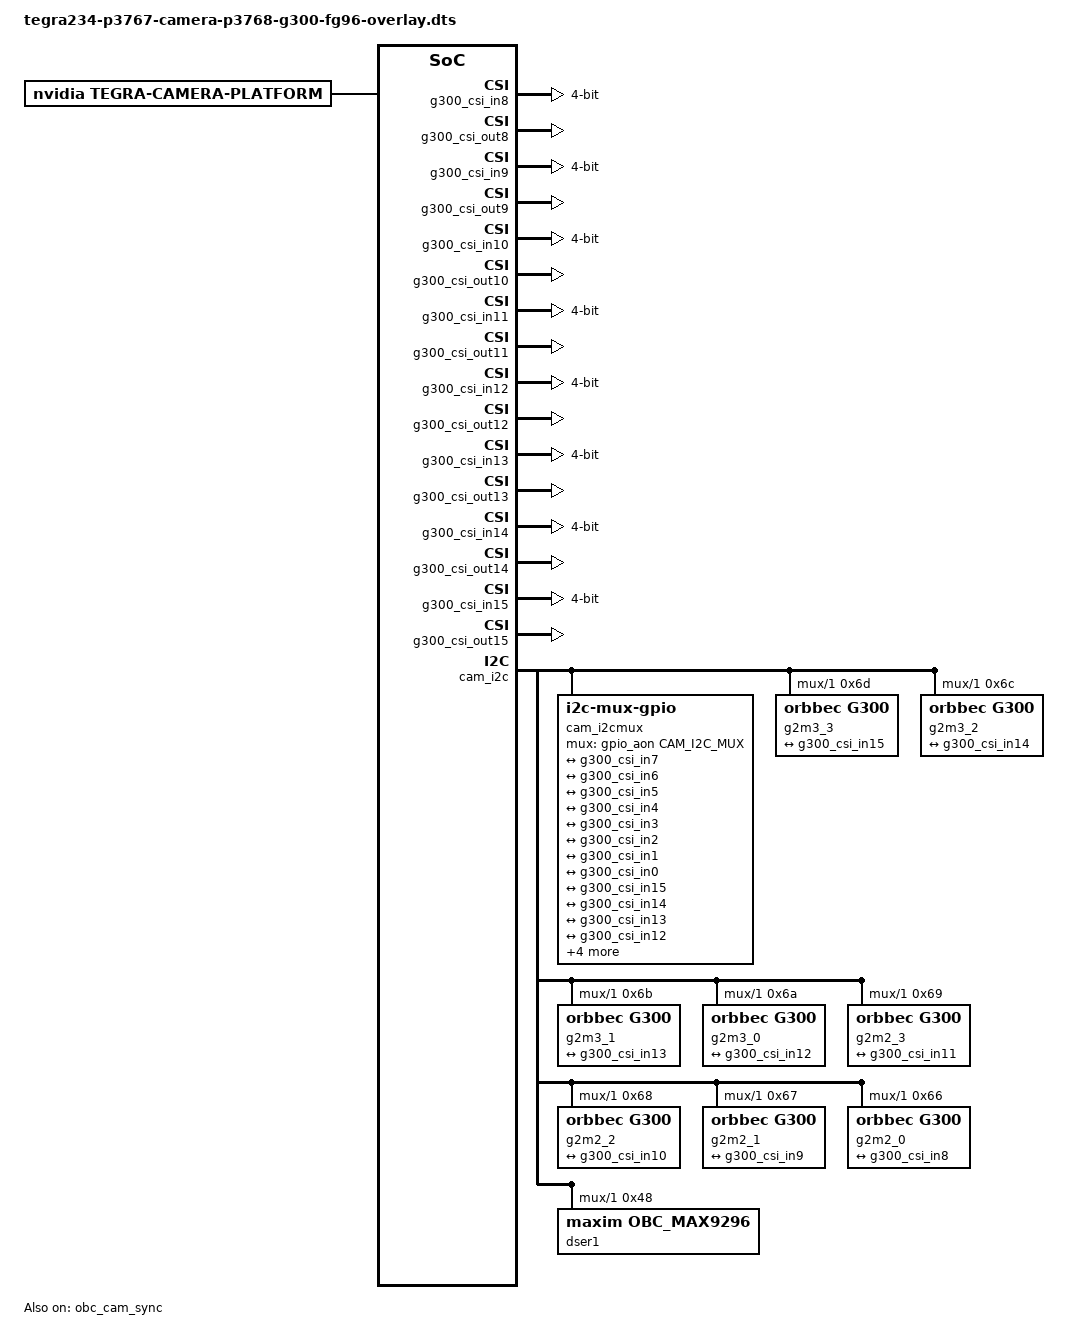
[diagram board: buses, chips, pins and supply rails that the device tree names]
// SPDX-License-Identifier: GPL-2.0-only
// SPDX-FileCopyrightText: Copyright (c) 2024-2029, ORBBEC CORPORATION.  All rights reserved.

/dts-v1/;
/plugin/;

#include <dt-bindings/clock/tegra234-clock.h>
#include <dt-bindings/gpio/tegra234-gpio.h>
#include <dt-bindings/tegra234-p3767-0000-common.h>
#include <dt-bindings/pinctrl/pinctrl-tegra.h> 

#define CAM0_PWDN TEGRA234_MAIN_GPIO(H, 6) //0x3e
#define CAM1_PWDN TEGRA234_MAIN_GPIO(AC, 0) //0x3b

#define SYNC_OUT   CAM1_PWDN
#define SYNC_IN    TEGRA234_AON_GPIO(BB, 0) //(BB, 0)
//#define PPS_TRIGGER  TEGRA234_AON_GPIO(BB, 2)//(BB, 2)

#define CAMERA_I2C_MUX_BUS(x) (0x1E + x)
#define CAM_I2C_MUX  TEGRA234_AON_GPIO(CC, 3)

/* camera control gpio definitions */
/ {
	overlay-name = "Jetson Orbbec Camera G335Lg";
    jetson-header-name = "Jetson 40pin Header";
    compatible = JETSON_COMPATIBLE_P3768;

	fragment@0 {
		target = <&pinmux>;
		__overlay__ {
			pinctrl-names = "default";
			pinctrl-0 = <&jetson_io_pinmux>;
			jetson_io_pinmux: exp-header-pinmux {
				hdr40-pin15 {
					nvidia,pins = "soc_gpio39_pn1";
					nvidia,function = "gp";
					nvidia,pin-group = "pwm1";
					nvidia,tristate = <TEGRA_PIN_DISABLE>;
					nvidia,enable-input = <TEGRA_PIN_DISABLE>;
				};
			};
		};
	};

	fragment@1 {
		target-path = "/";
		__overlay__ {
			tegra-capture-vi {
				num-channels = <16>;
				ports {
					status = "okay";
					#address-cells = <1>;
					#size-cells = <0>;
					port@0 {
						reg = <0>;
						status = "disable";
						g300_vi_in0: endpoint {
							status = "okay";
							vc-id = <0>;
							port-index = <0>; //0
							bus-width = <4>;
							remote-endpoint = <&g300_csi_out0>;
						};
					};
					port@1 {
						reg = <1>;
						status = "disable";
						g300_vi_in1: endpoint {
							status = "okay";
							vc-id = <1>;
							port-index = <0>; //0
							bus-width = <4>;
							remote-endpoint = <&g300_csi_out1>;
						};
					};
					port@2 {
						reg = <2>;
						status = "disable";
						g300_vi_in2: endpoint {
							status = "okay";
							vc-id = <2>;
							port-index = <0>; //0
							bus-width = <4>;
							remote-endpoint = <&g300_csi_out2>;
						};
					};
					port@3 {
						reg = <3>;
						status = "disable";
						g300_vi_in3: endpoint {
							status = "okay";
							vc-id = <3>;
							port-index = <0>; //0
							bus-width = <4>;
							remote-endpoint = <&g300_csi_out3>;
						};
					};

					port@4 {
						reg = <4>;
						status = "disable";
						g300_vi_in4: endpoint {
							status = "okay";
							vc-id = <3>;
							port-index = <0>; //1
							bus-width = <4>;
							remote-endpoint = <&g300_csi_out4>;
						};
					};
					port@5 {
						reg = <5>;
						status = "disable";
						g300_vi_in5: endpoint {
							status = "okay";
							vc-id = <2>;
							port-index = <0>; //1
							bus-width = <4>;
							remote-endpoint = <&g300_csi_out5>;
						};
					};
					port@6 {
						reg = <6>;
						status = "disable";
						g300_vi_in6: endpoint {
							status = "okay";
							vc-id = <1>;
							port-index = <0>; //1
							bus-width = <4>;
							remote-endpoint = <&g300_csi_out6>;
						};
					};
					port@7 {
						reg = <7>;
						status = "disable";
						g300_vi_in7: endpoint {
							status = "okay";
							vc-id = <0>;
							port-index = <0>; //1
							bus-width = <4>;
							remote-endpoint = <&g300_csi_out7>;
						};
					};

					port@8 {
						reg = <8>;
						status = "okay";
						g300_vi_in8: endpoint {
							status = "okay";
							vc-id = <0>;
							port-index = <2>; //2
							bus-width = <4>;
							remote-endpoint = <&g300_csi_out8>;
						};
					};
					port@9 {
						reg = <9>;
						status = "okay";
						g300_vi_in9: endpoint {
							status = "okay";
							vc-id = <1>;
							port-index = <2>; //2
							bus-width = <4>;
							remote-endpoint = <&g300_csi_out9>;
						};
					};
					port@10 {
						reg = <10>;
						status = "okay";
						g300_vi_in10: endpoint {
							status = "okay";
							vc-id = <2>;
							port-index = <2>; //2
							bus-width = <4>;
							remote-endpoint = <&g300_csi_out10>;
						};
					};
					port@11 {
						reg = <11>;
						status = "okay";
						g300_vi_in11: endpoint {
							status = "okay";
							vc-id = <3>;
							port-index = <2>; //2
							bus-width = <4>;
							remote-endpoint = <&g300_csi_out11>;
						};
					};

					port@12 {
						reg = <12>;
						status = "okay";
						g300_vi_in12: endpoint {
							status = "okay";
							vc-id = <3>;
							port-index = <2>; //3
							bus-width = <4>;
							remote-endpoint = <&g300_csi_out12>;
						};
					};
					port@13 {
						reg = <13>;
						status = "okay";
						g300_vi_in13: endpoint {
							status = "okay";
							vc-id = <2>;
							port-index = <2>; //3
							bus-width = <4>;
							remote-endpoint = <&g300_csi_out13>;
						};
					};
					port@14 {
						reg = <14>;
						status = "okay";
						g300_vi_in14: endpoint {
							status = "okay";
							vc-id = <1>;
							port-index = <2>; //3
							bus-width = <4>;
							remote-endpoint = <&g300_csi_out14>;
						};
					};
					port@15 {
						reg = <15>;
						status = "okay";
						g300_vi_in15: endpoint {
							status = "okay";
							vc-id = <0>;
							port-index = <2>; //3
							bus-width = <4>;
							remote-endpoint = <&g300_csi_out15>;
						};
					};
				};
			};
			
			obc_cam_sync {
				compatible = "orbbec,obc_cam_sync";
				ranges = <0x0 0x0 0xc6a0000 0x10000>;
				reg = <0x0 0xc6a0000 0x0 0x18>;
				#address-cells = <1>;
				#size-cells = <1>;
				status = "okay";
				//sync-in-gpios = <&gpio_aon SYNC_IN GPIO_ACTIVE_HIGH>;
				//sync-out-gpios = <&gpio_aon CAM_SYNCALL GPIO_ACTIVE_HIGH>;  //Use hrtimer to generate trigger signals
				pwms = <&pwm8 0 33333333>; //Use PWM to generate trigger signals, Default PWM mode, if use hrtimer comment out this line
				/* EDGE_OUT #0 */
				generator@380 {
					reg = <0x380 0x80>;
					freq_hz = <30>;
					duty_cycle = <10>;
					offset_ms = <0>;
					gpio_pinmux = <&gpio_aon TEGRA234_AON_GPIO(BB, 2) GPIO_ACTIVE_LOW>;
					status = "disabled";
				};		
			};


			bus@0 {
				host1x@13e00000 {
					nvcsi@15a00000 {
						#address-cells = <1>;
						#size-cells = <0>;

						num-channels = <16>;

						channel@0 {
							reg = <0>;
							status = "disable";
							ports {
								status = "okay";
								#address-cells = <1>;
								#size-cells = <0>;
								port@0 {
									reg = <0>;
									status = "okay";
									g300_csi_in0: endpoint@0 {
										status = "okay";
										port-index = <0>;
										bus-width = <4>;
										remote-endpoint = <&g2m0_0_out>;
									};
								};
								port@1 {
									reg = <1>;
									status = "okay";
									g300_csi_out0: endpoint@1 {
										status = "okay";
										remote-endpoint = <&g300_vi_in0>;
									};
								};
							};
						};
						channel@1 {
							reg = <1>;
							status = "disable";
							ports {
								status = "okay";
								#address-cells = <1>;
								#size-cells = <0>;
								port@0 {
									reg = <0>;
									status = "okay";
									g300_csi_in1: endpoint@2 {
										status = "okay";
										port-index = <0>;
										bus-width = <4>;
										remote-endpoint = <&g2m0_1_out>;
									};
								};
								port@1 {
									reg = <1>;
									status = "okay";
									g300_csi_out1: endpoint@3 {
										status = "okay";
										remote-endpoint = <&g300_vi_in1>;
									};
								};
							};
						};
						channel@2 {
							reg = <2>;
							status = "disable";
							ports {
								status = "okay";
								#address-cells = <1>;
								#size-cells = <0>;
								port@0 {
									reg = <0>;
									status = "okay";
									g300_csi_in2: endpoint@4 {
										status = "okay";
										port-index = <0>;
										bus-width = <4>;
										remote-endpoint = <&g2m0_2_out>;
									};
								};
								port@1 {
									reg = <1>;
									status = "okay";
									g300_csi_out2: endpoint@5 {
										status = "okay";
										remote-endpoint = <&g300_vi_in2>;
									};
								};
							};
						};
						channel@3 {
							reg = <3>;
							status = "disable";
							ports {
								status = "okay";
								#address-cells = <1>;
								#size-cells = <0>;
								port@0 {
									reg = <0>;
									status = "okay";
									g300_csi_in3: endpoint@6 {
										status = "okay";
										port-index = <0>;
										bus-width = <4>;
										remote-endpoint = <&g2m0_3_out>;
									};
								};
								port@1 {
									reg = <1>;
									status = "okay";
									g300_csi_out3: endpoint@7 {
										status = "okay";
										remote-endpoint = <&g300_vi_in3>;
									};
								};
							};
						};
						channel@4 {
							reg = <4>;
							status = "disable";
							ports {
								status = "okay";
								#address-cells = <1>;
								#size-cells = <0>;
								port@0 {
									reg = <0>;
									status = "okay";
									g300_csi_in4: endpoint@8 {
										status = "okay";
										port-index = <0>;
										bus-width = <4>;
										remote-endpoint = <&g2m1_0_out>;
									};
								};
								port@1 {
									reg = <1>;
									status = "okay";
									g300_csi_out4: endpoint@9 {
										status = "okay";
										remote-endpoint = <&g300_vi_in4>;
									};
								};
							};
						};
						channel@5 {
							reg = <5>;
							status = "disable";
							ports {
								status = "okay";
								#address-cells = <1>;
								#size-cells = <0>;
								port@0 {
									reg = <0>;
									status = "okay";
									g300_csi_in5: endpoint@10 {
										status = "okay";
										port-index = <0>;
										bus-width = <4>;
										remote-endpoint = <&g2m1_1_out>;
									};
								};
								port@1 {
									reg = <1>;
									status = "okay";
									g300_csi_out5: endpoint@11 {
										status = "okay";
										remote-endpoint = <&g300_vi_in5>;
									};
								};
							};
						};
						channel@6 {
							reg = <6>;
							status = "disable";
							ports {
								status = "okay";
								#address-cells = <1>;
								#size-cells = <0>;
								port@0 {
									reg = <0>;
									status = "okay";
									g300_csi_in6: endpoint@12 {
										status = "okay";
										port-index = <0>;
										bus-width = <4>;
										remote-endpoint = <&g2m1_2_out>;
									};
								};
								port@1 {
									reg = <1>;
									status = "okay";
									g300_csi_out6: endpoint@13 {
										status = "okay";
										remote-endpoint = <&g300_vi_in6>;
									};
								};
							};
						};
						channel@7 {
							reg = <7>;
							status = "disable";
							ports {
								status = "okay";
								#address-cells = <1>;
								#size-cells = <0>;
								port@0 {
									reg = <0>;
									status = "okay";
									g300_csi_in7: endpoint@14 {
										status = "okay";
										port-index = <0>;
										bus-width = <4>;
										remote-endpoint = <&g2m1_3_out>;
									};
								};
								port@1 {
									reg = <1>;
									status = "okay";
									g300_csi_out7: endpoint@15 {
										status = "okay";
										remote-endpoint = <&g300_vi_in7>;
									};
								};
							};
						};
						channel@8 {
							reg = <8>;
							status = "okay";
							ports {
								status = "okay";
								#address-cells = <1>;
								#size-cells = <0>;
								port@0 {
									reg = <0>;
									status = "okay";
									g300_csi_in8: endpoint@16 {
										status = "okay";
										port-index = <2>;
										bus-width = <4>;
										remote-endpoint = <&g2m2_0_out>;
									};
								};
								port@1 {
									reg = <1>;
									status = "okay";
									g300_csi_out8: endpoint@17 {
										status = "okay";
										remote-endpoint = <&g300_vi_in8>;
									};
								};
							};
						};
						channel@9 {
							reg = <9>;
							status = "okay";
							ports {
								status = "okay";
								#address-cells = <1>;
								#size-cells = <0>;
								port@0 {
									reg = <0>;
									status = "okay";
									g300_csi_in9: endpoint@18 {
										status = "okay";
										port-index = <2>;
										bus-width = <4>;
										remote-endpoint = <&g2m2_1_out>;
									};
								};
								port@1 {
									reg = <1>;
									status = "okay";
									g300_csi_out9: endpoint@19 {
										status = "okay";
										remote-endpoint = <&g300_vi_in9>;
									};
								};
							};
						};
						channel@10 {
							reg = <10>;
							status = "okay";
							ports {
								status = "okay";
								#address-cells = <1>;
								#size-cells = <0>;
								port@0 {
									reg = <0>;
									status = "okay";
									g300_csi_in10: endpoint@20 {
										status = "okay";
										port-index = <2>;
										bus-width = <4>;
										remote-endpoint = <&g2m2_2_out>;
									};
								};
								port@1 {
									reg = <1>;
									status = "okay";
									g300_csi_out10: endpoint@21 {
										status = "okay";
										remote-endpoint = <&g300_vi_in10>;
									};
								};
							};
						};
						channel@11 {
							reg = <11>;
							status = "okay";
							ports {
								status = "okay";
								#address-cells = <1>;
								#size-cells = <0>;
								port@0 {
									reg = <0>;
									status = "okay";
									g300_csi_in11: endpoint@22 {
										status = "okay";
										port-index = <2>;
										bus-width = <4>;
										remote-endpoint = <&g2m2_3_out>;
									};
								};
								port@1 {
									reg = <1>;
									status = "okay";
									g300_csi_out11: endpoint@23 {
										status = "okay";
										remote-endpoint = <&g300_vi_in11>;
									};
								};
							};
						};
						channel@12 {
							reg = <12>;
							status = "okay";
							ports {
								status = "okay";
								#address-cells = <1>;
								#size-cells = <0>;
								port@0 {
									reg = <0>;
									status = "okay";
									g300_csi_in12: endpoint@24 {
										status = "okay";
										port-index = <2>;
										bus-width = <4>;
										remote-endpoint = <&g2m3_0_out>;
									};
								};
								port@1 {
									reg = <1>;
									status = "okay";
									g300_csi_out12: endpoint@25 {
										status = "okay";
										remote-endpoint = <&g300_vi_in12>;
									};
								};
							};
						};
						channel@13 {
							reg = <13>;
							status = "okay";
							ports {
								status = "okay";
								#address-cells = <1>;
								#size-cells = <0>;
								port@0 {
									reg = <0>;
									status = "okay";
									g300_csi_in13: endpoint@26 {
										status = "okay";
										port-index = <2>;
										bus-width = <4>;
										remote-endpoint = <&g2m3_1_out>;
									};
								};
								port@1 {
									reg = <1>;
									status = "okay";
									g300_csi_out13: endpoint@27 {
										status = "okay";
										remote-endpoint = <&g300_vi_in13>;
									};
								};
							};
						};
						channel@14 {
							reg = <14>;
							status = "okay";
							ports {
								status = "okay";
								#address-cells = <1>;
								#size-cells = <0>;
								port@0 {
									reg = <0>;
									status = "okay";
									g300_csi_in14: endpoint@28 {
										status = "okay";
										port-index = <2>;
										bus-width = <4>;
										remote-endpoint = <&g2m3_2_out>;
									};
								};
								port@1 {
									reg = <1>;
									status = "okay";
									g300_csi_out14: endpoint@29 {
										status = "okay";
										remote-endpoint = <&g300_vi_in14>;
									};
								};
							};
						};
						channel@15 {
							reg = <15>;
							status = "okay";
							ports {
								status = "okay";
								#address-cells = <1>;
								#size-cells = <0>;
								port@0 {
									reg = <0>;
									status = "okay";
									g300_csi_in15: endpoint@30 {
										status = "okay";
										port-index = <2>;
										bus-width = <4>;
										remote-endpoint = <&g2m3_3_out>;
									};
								};
								port@1 {
									reg = <1>;
									status = "okay";
									g300_csi_out15: endpoint@31 {
										status = "okay";
										remote-endpoint = <&g300_vi_in15>;
									};
								};
							};
						};
					};
				};

				cam_i2cmux{
					status = "okay";
					compatible = "i2c-mux-gpio";
					#address-cells = <1>;
					#size-cells = <0>;
					i2c-parent = <&cam_i2c>;
					mux-gpios = <&gpio_aon CAM_I2C_MUX GPIO_ACTIVE_HIGH>;
					i2c@0 {
						status = "disable";
						reg = <0>; // line 2 of the I2C switch
						#address-cells = <1>;
						#size-cells = <0>;
						
						g2m1_3: g2m3@6D {
							status = "okay";
							reg = <0x6D>;
							compatible = "orbbec,g300";
							use_sensor_mode_id = "true";
							cam-type = "IR_R";
							dser-link-port = "b";
							st-vc = <3>;
							vc-id = <0>;
							orbbec_cam_num = <1>;
							maxim,gmsl-dser-device = <&dser0>;
							//pps-gpios = <&gpio_aon PPS_TRIGGER GPIO_ACTIVE_LOW>;
							ports {
								#address-cells = <1>;
								#size-cells = <0>;
								port@0 {
									reg = <0>;
									g2m1_3_out: endpoint {
										vc-id = <0>;
										port-index = <0>;
										bus-width = <4>;
										remote-endpoint = <&g300_csi_in7>;
									};
								};
							};
							mode0 {
								pixel_t = "grey_y8";
								num_lanes = "4";
								csi_pixel_bit_depth = "8";
								active_w = "1280";
								active_h = "720";
								tegra_sinterface = "serial_a";
								mclk_khz = "24000";
								pix_clk_hz = "750000000";  //4lane:750000000 ,2lane:375000000
								serdes_pix_clk_hz = "750000000";  //4lane:750000000 ,2lane:375000000
								discontinuous_clk = "no";
								lane_polarity = "6";
								dpcm_enable = "false";
								cil_settletime = "0";
								line_length = "1280";
								mclk_multiplier = "15.625";
								embedded_metadata_height = "1";
								vc_id = "0";
							};
						};

						g2m1_2: g2m2@6C {
							status = "okay";
							reg = <0x6C>;
							compatible = "orbbec,g300";
							use_sensor_mode_id = "true";
							cam-type = "IR_L";
							dser-link-port = "b";
							st-vc = <2>;
							vc-id = <1>;
							orbbec_cam_num = <1>;
							maxim,gmsl-dser-device = <&dser0>;
							//pps-gpios = <&gpio_aon PPS_TRIGGER GPIO_ACTIVE_LOW>;
							ports {
								#address-cells = <1>;
								#size-cells = <0>;
								port@0 {
									reg = <0>;
									g2m1_2_out: endpoint {
										vc-id = <1>;
										port-index = <0>;
										bus-width = <4>;
										remote-endpoint = <&g300_csi_in6>;
									};
								};
							};
							mode0 {
								pixel_t = "grey_y8";
								num_lanes = "4";
								csi_pixel_bit_depth = "8";
								active_w = "1280";
								active_h = "720";
								tegra_sinterface = "serial_a";
								mclk_khz = "24000";
								pix_clk_hz = "750000000";  //4lane:750000000 ,2lane:375000000
								serdes_pix_clk_hz = "750000000";  //4lane:750000000 ,2lane:375000000
								discontinuous_clk = "no";
								lane_polarity = "6";
								dpcm_enable = "false";
								cil_settletime = "0";
								line_length = "1280";
								mclk_multiplier = "15.625";
								embedded_metadata_height = "1";
								vc_id = "1";
							};
						};

						g2m1_1: g2m1@6B {
							status = "okay";
							reg = <0x6B>;
							compatible = "orbbec,g300";
							use_sensor_mode_id = "true";
							cam-type = "RGB";
							dser-link-port = "b";
							st-vc = <1>;
							vc-id = <2>;
							orbbec_cam_num = <1>;
							maxim,gmsl-dser-device = <&dser0>;
							//pps-gpios = <&gpio_aon PPS_TRIGGER GPIO_ACTIVE_LOW>;
							ports {
								#address-cells = <1>;
								#size-cells = <0>;
								port@0 {
									reg = <0>;
									g2m1_1_out: endpoint {
										vc-id = <2>;
										port-index = <0>;
										bus-width = <4>;
										remote-endpoint = <&g300_csi_in5>;
									};
								};
							};
							mode0 {
								pixel_t = "yuv_yvyu16";
								num_lanes = "4";
								csi_pixel_bit_depth = "16";
								active_w = "1280";
								active_h = "720";
								tegra_sinterface = "serial_a";
								mclk_khz = "24000";
								pix_clk_hz = "375000000";  //4lane:375000000,2lane:187500000
								serdes_pix_clk_hz = "375000000";  //4lane:375000000,2lane:187500000
								discontinuous_clk = "no";
								lane_polarity = "6";
								dpcm_enable = "false";
								cil_settletime = "0";
								line_length = "1280";
								mclk_multiplier = "15.625";
								embedded_metadata_height = "1";
								vc_id = "2";
							};
						};

						g2m1_0: g2m0@6A {
							status = "okay";
							reg = <0x6A>;
							compatible = "orbbec,g300";
							use_sensor_mode_id = "true";
							cam-type = "Depth";
							dser-link-port = "b";
							st-vc = <0>;
							vc-id = <3>;
							orbbec_cam_num = <1>;
							maxim,gmsl-dser-device = <&dser0>;
							//pps-gpios = <&gpio_aon PPS_TRIGGER GPIO_ACTIVE_LOW>;
							ports {
								#address-cells = <1>;
								#size-cells = <0>;
								port@0 {
									reg = <0>;
									g2m1_0_out: endpoint {
										vc-id = <3>;
										port-index = <0>;
										bus-width = <4>;
										remote-endpoint = <&g300_csi_in4>;
									};
								};
							};
							mode0 {
								pixel_t = "yuv_yvyu16";
								num_lanes = "4";
								csi_pixel_bit_depth = "16";
								active_w = "1280";
								active_h = "720";
								tegra_sinterface = "serial_a";
								mclk_khz = "24000";
								pix_clk_hz = "375000000";  //4lane:375000000,2lane:187500000
								serdes_pix_clk_hz = "375000000";  //4lane:375000000,2lane:187500000
								discontinuous_clk = "no";
								lane_polarity = "6";
								dpcm_enable = "false";
								cil_settletime = "0";
								line_length = "1280";
								mclk_multiplier = "15.625";
								embedded_metadata_height = "1";
								vc_id = "3";
							};
						};

						/* IR_R */
						g2m0_3: g2m3@69 {
							status = "okay";
							reg = <0x69>;
							compatible = "orbbec,g300";
							use_sensor_mode_id = "true";
							cam-type = "IR_R";
							dser-link-port = "a";
							st-vc = <3>;
							vc-id = <3>;
							orbbec_cam_num = <0>;
							maxim,gmsl-dser-device = <&dser0>;
							//pps-gpios = <&gpio_aon PPS_TRIGGER GPIO_ACTIVE_LOW>;
							ports {
								#address-cells = <1>;
								#size-cells = <0>;

								port@0 {
									reg = <0>;
									g2m0_3_out: endpoint {
										vc-id = <3>;
										port-index = <0>; //0
										bus-width = <4>;
										remote-endpoint = <&g300_csi_in3>;
									};
								};
							};
							mode0 {
								pixel_t = "grey_y8";
								num_lanes = "4";
								csi_pixel_bit_depth = "8";
								active_w = "1280";
								active_h = "720";
								tegra_sinterface = "serial_a";
								mclk_khz = "24000";
								pix_clk_hz = "750000000";  //4lane:750000000 ,2lane:375000000
								serdes_pix_clk_hz = "750000000";  //4lane:750000000 ,2lane:375000000
								discontinuous_clk = "no";
								lane_polarity = "6";
								dpcm_enable = "false";
								cil_settletime = "0";
								line_length = "1280";
								mclk_multiplier = "15.625";
								embedded_metadata_height = "1";
								vc_id = "3";
							};
						};
						/* IR_L */
						g2m0_2: g2m2@68 {
							status = "okay";
							reg = <0x68>;
							compatible = "orbbec,g300";
							use_sensor_mode_id = "true";
							cam-type = "IR_L";
							dser-link-port = "a";
							st-vc = <2>;
							vc-id = <2>;
							orbbec_cam_num = <0>;
							maxim,gmsl-dser-device = <&dser0>;
							//pps-gpios = <&gpio_aon PPS_TRIGGER GPIO_ACTIVE_LOW>;
							ports {
								#address-cells = <1>;
								#size-cells = <0>;
								port@0 {
									reg = <0>;
									g2m0_2_out: endpoint {
										vc-id = <2>;
										port-index = <0>;
										bus-width = <4>;
										remote-endpoint = <&g300_csi_in2>;
									};
								};
							};
							mode0 {
								pixel_t = "grey_y8";
								num_lanes = "4";
								csi_pixel_bit_depth = "8";
								active_w = "1280";
								active_h = "720";
								tegra_sinterface = "serial_a";
								mclk_khz = "24000";
								pix_clk_hz = "750000000";  //4lane:750000000 ,2lane:375000000
								serdes_pix_clk_hz = "750000000";  //4lane:750000000 ,2lane:375000000
								discontinuous_clk = "no";
								lane_polarity = "6";
								dpcm_enable = "false";
								cil_settletime = "0";
								line_length = "1280";
								mclk_multiplier = "15.625";
								embedded_metadata_height = "1";
								vc_id = "2";
							};
						};
						/* RGB */
						g2m0_1: g2m1@67 {
							status = "okay";
							def-addr = <0x66>;
							reg = <0x67>;
							compatible = "orbbec,g300";
							use_sensor_mode_id = "true";
							cam-type = "RGB";
							dser-link-port = "a";
							st-vc = <1>;
							vc-id = <1>;
							orbbec_cam_num = <0>;
							maxim,gmsl-dser-device = <&dser0>;
							//pps-gpios = <&gpio_aon PPS_TRIGGER GPIO_ACTIVE_LOW>;
							ports {
								#address-cells = <1>;
								#size-cells = <0>;
								port@0 {
									reg = <0>;
									g2m0_1_out: endpoint {
										vc-id = <1>;
										port-index = <0>;
										bus-width = <4>;
										remote-endpoint = <&g300_csi_in1>;
									};
								};
							};
							mode0 {
								pixel_t = "yuv_yvyu16";
								num_lanes = "4";
								csi_pixel_bit_depth = "16";
								active_w = "1280";
								active_h = "720";
								tegra_sinterface = "serial_a";
								mclk_khz = "24000";
								pix_clk_hz = "375000000";  //4lane:375000000,2lane:187500000
								serdes_pix_clk_hz = "375000000";  //4lane:375000000,2lane:187500000
								discontinuous_clk = "no";
								lane_polarity = "6";
								dpcm_enable = "false";
								cil_settletime = "0";
								line_length = "1280";
								mclk_multiplier = "15.625";
								embedded_metadata_height = "1"; 
								vc_id = "1";
							};
						};
						/* Depth */
						g2m0_0: g2m0@66 {
							status = "okay";
							def-addr = <0x66>;
							reg = <0x66>;
							compatible = "orbbec,g300";
							use_sensor_mode_id = "true";
							cam-type = "Depth";
							dser-link-port = "a";
							st-vc = <0>;   				/**< Default sensor virtual channel. */
							vc-id = <0>;				/**< Destination virtual channel (user-defined). */
							orbbec_cam_num = <0>;
							maxim,gmsl-dser-device = <&dser0>;
							//pps-gpios = <&gpio_aon PPS_TRIGGER GPIO_ACTIVE_LOW>;
							ports {
								#address-cells = <1>;
								#size-cells = <0>;

								port@0 {
									reg = <0>;
									g2m0_0_out: endpoint {
										vc-id = <0>;
										port-index = <0>;
										bus-width = <4>;
										remote-endpoint = <&g300_csi_in0>;
									};
								};
							};
							mode0 {
								pixel_t = "yuv_yvyu16";
								num_lanes = "4";
								csi_pixel_bit_depth = "16";
								active_w = "1280";
								active_h = "720";
								tegra_sinterface = "serial_a";
								mclk_khz = "24000";
								pix_clk_hz = "375000000";  //4lane:375000000,2lane:187500000
								serdes_pix_clk_hz = "375000000";  //4lane:375000000,2lane:187500000
								discontinuous_clk = "no";
								lane_polarity = "6";
								dpcm_enable = "false";
								cil_settletime = "0";
								line_length = "1280";
								mclk_multiplier = "15.625";
								embedded_metadata_height = "1"; 
								vc_id = "0";
							};
						};
						dser0: max9296@48 {
							status = "okay";
							reg = <0x48>; //0x90>>1
							compatible = "maxim,obc_max9296";
							index = <0>;
							csi-mode = "2x4"; //2*4lane
							seri-addr = <0x50>; //serializer start address, LinkA serializer i2c address,LINK B + 1
							proxy-addr = <0x1a>; //camera proxy address, LinkA g300 i2c address,LINK B + 1,LINK C + 2,LINK D + 3
							real-addr = <0x66>; //camera real address
							//reset-gpios = <&gpio CAM0_PWDN GPIO_ACTIVE_HIGH>;
							fsync_mfp_index = <0>;
							pps_mfp_index = <6>;
							is-fg96-2ch;
						};
					};
					i2c@1 {
						status = "okay";
						reg = <1>; // line 2 of the I2C switch
						#address-cells = <1>;
						#size-cells = <0>;

						g2m3_3: g2m3@6D {
							status = "okay";
							reg = <0x6D>;
							compatible = "orbbec,g300";
							use_sensor_mode_id = "true";
							cam-type = "IR_R";
							dser-link-port = "b";
							st-vc = <3>;
							vc-id = <0>;
							orbbec_cam_num = <3>;
							maxim,gmsl-dser-device = <&dser1>;
							//pps-gpios = <&gpio_aon PPS_TRIGGER GPIO_ACTIVE_LOW>;
							ports {
								#address-cells = <1>;
								#size-cells = <0>;
								port@0 {
									reg = <0>;
									g2m3_3_out: endpoint {
										vc-id = <0>;
										port-index = <2>;
										bus-width = <4>;
										remote-endpoint = <&g300_csi_in15>;
									};
								};
							};
							mode0 {
								pixel_t = "grey_y8";
								num_lanes = "4";
								csi_pixel_bit_depth = "8";
								active_w = "1280";
								active_h = "720";
								tegra_sinterface = "serial_c";
								mclk_khz = "24000";
								pix_clk_hz = "750000000";  //4lane:750000000 ,2lane:375000000
								serdes_pix_clk_hz = "750000000";  //4lane:750000000 ,2lane:375000000
								discontinuous_clk = "no";
								dpcm_enable = "false";
								cil_settletime = "0";
								line_length = "1280";
								mclk_multiplier = "15.625";
								embedded_metadata_height = "1";
								vc_id = "0";
							};
						};

						g2m3_2: g2m2@6C {
							status = "okay";
							reg = <0x6C>;
							compatible = "orbbec,g300";
							use_sensor_mode_id = "true";
							cam-type = "IR_L";
							dser-link-port = "b";
							st-vc = <2>;
							vc-id = <1>;
							orbbec_cam_num = <3>;
							maxim,gmsl-dser-device = <&dser1>;
							//pps-gpios = <&gpio_aon PPS_TRIGGER GPIO_ACTIVE_LOW>;
							ports {
								#address-cells = <1>;
								#size-cells = <0>;
								port@0 {
									reg = <0>;
									g2m3_2_out: endpoint {
										vc-id = <1>;
										port-index = <2>;
										bus-width = <4>;
										remote-endpoint = <&g300_csi_in14>;
									};
								};
							};
							mode0 {
								pixel_t = "grey_y8";
								num_lanes = "4";
								csi_pixel_bit_depth = "8";
								active_w = "1280";
								active_h = "720";
								tegra_sinterface = "serial_c";
								mclk_khz = "24000";
								pix_clk_hz = "750000000";  //4lane:750000000 ,2lane:375000000
								serdes_pix_clk_hz = "750000000";  //4lane:750000000 ,2lane:375000000
								discontinuous_clk = "no";
								dpcm_enable = "false";
								cil_settletime = "0";
								line_length = "1280";
								mclk_multiplier = "15.625";
								embedded_metadata_height = "1";
								vc_id = "1";
							};
						};
						g2m3_1: g2m1@6B {
							status = "okay";
							reg = <0x6B>;
							compatible = "orbbec,g300";
							use_sensor_mode_id = "true";
							cam-type = "RGB";
							dser-link-port = "b";
							st-vc = <1>;
							vc-id = <2>;
							orbbec_cam_num = <3>;
							maxim,gmsl-dser-device = <&dser1>;
							//pps-gpios = <&gpio_aon PPS_TRIGGER GPIO_ACTIVE_LOW>;
							ports {
								#address-cells = <1>;
								#size-cells = <0>;
								port@0 {
									reg = <0>;
									g2m3_1_out: endpoint {
										vc-id = <2>;
										port-index = <2>;
										bus-width = <4>;
										remote-endpoint = <&g300_csi_in13>;
									};
								};
							};
							mode0 {
								pixel_t = "yuv_yvyu16";
								num_lanes = "4";
								csi_pixel_bit_depth = "16";
								active_w = "1280";
								active_h = "720";
								tegra_sinterface = "serial_c";
								mclk_khz = "24000";
								pix_clk_hz = "375000000";  //4lane:375000000,2lane:187500000
								serdes_pix_clk_hz = "375000000";  //4lane:375000000,2lane:187500000
								discontinuous_clk = "no";
								dpcm_enable = "false";
								cil_settletime = "0";
								line_length = "1280";
								mclk_multiplier = "15.625";
								embedded_metadata_height = "1"; 
								vc_id = "2";
							};
						};

						g2m3_0: g2m0@6A {
							status = "okay";
							reg = <0x6A>;
							compatible = "orbbec,g300";
							use_sensor_mode_id = "true";
							cam-type = "Depth";
							dser-link-port = "b";
							st-vc = <0>;
							vc-id = <3>;
							orbbec_cam_num = <3>;
							maxim,gmsl-dser-device = <&dser1>;
							//pps-gpios = <&gpio_aon PPS_TRIGGER GPIO_ACTIVE_LOW>;
							ports {
								#address-cells = <1>;
								#size-cells = <0>;
								port@0 {
									reg = <0>;
									g2m3_0_out: endpoint {
										vc-id = <3>;
										port-index = <2>;
										bus-width = <4>;
										remote-endpoint = <&g300_csi_in12>;
									};
								};
							};
							mode0 {
								pixel_t = "yuv_yvyu16";
								num_lanes = "4";
								csi_pixel_bit_depth = "16";
								active_w = "1280";
								active_h = "720";
								tegra_sinterface = "serial_c";
								mclk_khz = "24000";
								pix_clk_hz = "375000000";  //4lane:375000000,2lane:187500000
								serdes_pix_clk_hz = "375000000";  //4lane:375000000,2lane:187500000
								discontinuous_clk = "no";
								dpcm_enable = "false";
								cil_settletime = "0";
								line_length = "1280";
								mclk_multiplier = "15.625";
								embedded_metadata_height = "1"; 
								vc_id = "3";
							};
						};
						g2m2_3: g2m3@69 {
							status = "okay";
							reg = <0x69>;
							compatible = "orbbec,g300";
							use_sensor_mode_id = "true";
							cam-type = "IR_R";
							dser-link-port = "a";
							st-vc = <3>;
							vc-id = <3>;
							orbbec_cam_num = <2>;
							maxim,gmsl-dser-device = <&dser1>;
							//pps-gpios = <&gpio_aon PPS_TRIGGER GPIO_ACTIVE_LOW>;
							ports {
								#address-cells = <1>;
								#size-cells = <0>;
								port@0 {
									reg = <0>;
									g2m2_3_out: endpoint {
										vc-id = <3>;
										port-index = <2>;
										bus-width = <4>;
										remote-endpoint = <&g300_csi_in11>;
									};
								};
							};
							mode0 {
								pixel_t = "grey_y8";
								num_lanes = "4";
								csi_pixel_bit_depth = "8";
								active_w = "1280";
								active_h = "720";
								tegra_sinterface = "serial_c";
								mclk_khz = "24000";
								pix_clk_hz = "750000000";  //4lane:750000000 ,2lane:375000000
								serdes_pix_clk_hz = "750000000";  //4lane:750000000 ,2lane:375000000
								discontinuous_clk = "no";
								dpcm_enable = "false";
								cil_settletime = "0";
								line_length = "1280";
								mclk_multiplier = "15.625";
								embedded_metadata_height = "1";
								vc_id = "3";
							};
						};
						g2m2_2: g2m2@68 {
							status = "okay";
							reg = <0x68>;
							compatible = "orbbec,g300";
							use_sensor_mode_id = "true";
							cam-type = "IR_L";
							dser-link-port = "a";
							st-vc = <2>;
							vc-id = <2>;
							orbbec_cam_num = <2>;
							maxim,gmsl-dser-device = <&dser1>;
							//pps-gpios = <&gpio_aon PPS_TRIGGER GPIO_ACTIVE_LOW>;
							ports {
								#address-cells = <1>;
								#size-cells = <0>;
								port@0 {
									reg = <0>;
									g2m2_2_out: endpoint {
										vc-id = <2>;
										port-index = <2>;
										bus-width = <4>;
										remote-endpoint = <&g300_csi_in10>;
									};
								};
							};
							mode0 {
								pixel_t = "grey_y8";
								num_lanes = "4";
								csi_pixel_bit_depth = "8";
								active_w = "1280";
								active_h = "720";
								tegra_sinterface = "serial_c";
								mclk_khz = "24000";
								pix_clk_hz = "750000000";  //4lane:750000000 ,2lane:375000000
								serdes_pix_clk_hz = "750000000";  //4lane:750000000 ,2lane:375000000
								discontinuous_clk = "no";
								dpcm_enable = "false";
								cil_settletime = "0";
								line_length = "1280";
								mclk_multiplier = "15.625";
								embedded_metadata_height = "1";
								vc_id = "2";
							};
						};
						g2m2_1: g2m1@67 {
							status = "okay";
							reg = <0x67>;
							compatible = "orbbec,g300";
							use_sensor_mode_id = "true";
							cam-type = "RGB";
							dser-link-port = "a";
							st-vc = <1>;
							vc-id = <1>;
							orbbec_cam_num = <2>;
							maxim,gmsl-dser-device = <&dser1>;
							//pps-gpios = <&gpio_aon PPS_TRIGGER GPIO_ACTIVE_LOW>;
							ports {
								#address-cells = <1>;
								#size-cells = <0>;
								port@0 {
									reg = <0>;
									g2m2_1_out: endpoint {
										vc-id = <1>;
										port-index = <2>;
										bus-width = <4>;
										remote-endpoint = <&g300_csi_in9>;
									};
								};
							};
							mode0 {
								pixel_t = "yuv_yvyu16";
								num_lanes = "4";
								csi_pixel_bit_depth = "16";
								active_w = "1280";
								active_h = "720";
								tegra_sinterface = "serial_c";
								mclk_khz = "24000";
								pix_clk_hz = "375000000";  //4lane:375000000,2lane:187500000
								serdes_pix_clk_hz = "375000000";  //4lane:375000000,2lane:187500000
								discontinuous_clk = "no";
								dpcm_enable = "false";
								cil_settletime = "0";
								line_length = "1280";
								mclk_multiplier = "15.625";
								embedded_metadata_height = "1";
								vc_id = "1";
							};
						};
						g2m2_0: g2m0@66 {
							status = "okay";
							reg = <0x66>;
							compatible = "orbbec,g300";
							use_sensor_mode_id = "true";
							cam-type = "Depth";
							dser-link-port = "a";
							st-vc = <0>;   				/**< Default sensor virtual channel. */
							vc-id = <0>;				/**< Destination virtual channel (user-defined). */
							orbbec_cam_num = <2>;
							maxim,gmsl-dser-device = <&dser1>;
							//pps-gpios = <&gpio_aon PPS_TRIGGER GPIO_ACTIVE_LOW>;
							ports {
								#address-cells = <1>;
								#size-cells = <0>;

								port@0 {
									reg = <0>;
									g2m2_0_out: endpoint {
										vc-id = <0>;
										port-index = <2>;
										bus-width = <4>;
										remote-endpoint = <&g300_csi_in8>;
									};
								};
							};
							mode0 {
								pixel_t = "yuv_yvyu16";
								num_lanes = "4";
								csi_pixel_bit_depth = "16";
								active_w = "1280";
								active_h = "720";
								tegra_sinterface = "serial_c";
								mclk_khz = "24000";
								pix_clk_hz = "375000000";  //4lane:375000000,2lane:187500000
								serdes_pix_clk_hz = "375000000";  //4lane:375000000,2lane:187500000
								discontinuous_clk = "no";
								dpcm_enable = "false";
								cil_settletime = "0";
								line_length = "1280";
								mclk_multiplier = "15.625";
								embedded_metadata_height = "1";
								vc_id = "0";
							};
						};
						dser1: max9296@48 {
							status = "okay";
							reg = <0x48>; //0x90>>1
							compatible = "maxim,obc_max9296";
							index = <1>;
							csi-mode = "2x4"; //2*4lane
							seri-addr = <0x50>; //serializer start address, LinkA serializer i2c address,LINK B + 1
							proxy-addr = <0x1a>; //camera proxy address, LinkA g300 i2c address,LINK B + 1,LINK C + 2,LINK D + 3
							real-addr = <0x66>; //camera real address
							//reset-gpios = <&gpio CAM1_PWDN GPIO_ACTIVE_HIGH>;
							fsync_mfp_index = <0>;
							pps_mfp_index = <6>;
							is-fg96-2ch;
						};
					};
				};
			};
			tegra-camera-platform {
				compatible = "nvidia, tegra-camera-platform";

				/**
				* Physical settings to calculate max ISO BW
				*
				* num_csi_lanes = <>;
				* Total number of CSI lanes when all cameras are active
				*
				* max_lane_speed = <>;
				* Max lane speed in Kbit/s
				*
				* min_bits_per_pixel = <>;
				* Min bits per pixel
				*
				* vi_peak_byte_per_pixel = <>;
				* Max byte per pixel for the VI ISO case
				*
				* vi_bw_margin_pct = <>;
				* Vi bandwidth margin in percentage
				*
				* max_pixel_rate = <>;
				* Max pixel rate in Kpixel/s for the ISP ISO case
				*
				* isp_peak_byte_per_pixel = <>;
				* Max byte per pixel for the ISP ISO case
				*
				* isp_bw_margin_pct = <>;
				* Isp bandwidth margin in percentage
				*/
				num_csi_lanes = <8>;
				max_lane_speed = <1500000>;
				min_bits_per_pixel = <8>;
				vi_peak_byte_per_pixel = <2>;
				vi_bw_margin_pct = <25>;
				max_pixel_rate = <7500000>;
				isp_peak_byte_per_pixel = <5>;
				isp_bw_margin_pct = <25>;

				modules {
					status = "okay";
					module0 {
						status = "okay";
						badge = "g300_0";
						position = "front";
						orientation = "1";
						drivernode0 {
							status = "okay";
							/* Declare PCL support driver (classically known as guid)  */
							pcl_id = "v4l2_sensor";
							/* Declare the device-tree hierarchy to driver instance */
							proc-device-tree = "/proc/device-tree/cam_i2cmux/i2c@0/g2m0@66";
						};

						drivernode1 {
							status = "okay";
							/* Declare PCL support driver (classically known as guid)  */
							pcl_id = "v4l2_sensor";
							/* Declare the device-tree hierarchy to driver instance */
							proc-device-tree = "/proc/device-tree/cam_i2cmux/i2c@0/g2m1@67";
						};

						drivernode2 {
							status = "okay";
							/* Declare PCL support driver (classically known as guid)  */
							pcl_id = "v4l2_sensor";
							/* Declare the device-tree hierarchy to driver instance */
							proc-device-tree = "/proc/device-tree/cam_i2cmux/i2c@0/g2m2@68";
						};

						drivernode3 {
							status = "okay";
							/* Declare PCL support driver (classically known as guid)  */
							pcl_id = "v4l2_sensor";
							/* Declare the device-tree hierarchy to driver instance */
							proc-device-tree = "/proc/device-tree/cam_i2cmux/i2c@0/g2m3@69";
						};
					};
					
					module1 {
						status = "okay";
						badge = "g300_1";
						position = "rear";
						orientation = "1";
						
						drivernode0 {
							status = "okay";
							/* Declare PCL support driver (classically known as guid)  */
							pcl_id = "v4l2_sensor";
							/* Declare the device-tree hierarchy to driver instance */
							proc-device-tree = "/proc/device-tree/cam_i2cmux/i2c@0/g2m0@6A";
						};

						drivernode1 {
							status = "okay";
							/* Declare PCL support driver (classically known as guid)  */
							pcl_id = "v4l2_sensor";
							/* Declare the device-tree hierarchy to driver instance */
							proc-device-tree = "/proc/device-tree/cam_i2cmux/i2c@0/g2m1@6B";
						};

						drivernode2 {
							status = "okay";
							/* Declare PCL support driver (classically known as guid)  */
							pcl_id = "v4l2_sensor";
							/* Declare the device-tree hierarchy to driver instance */
							proc-device-tree = "/proc/device-tree/cam_i2cmux/i2c@0/g2m2@6C";
						};

						drivernode3 {
							status = "okay";
							/* Declare PCL support driver (classically known as guid)  */
							pcl_id = "v4l2_sensor";
							/* Declare the device-tree hierarchy to driver instance */
							proc-device-tree = "/proc/device-tree/cam_i2cmux/i2c@0/g2m3@6D";
						};
					};

					module2 {
						status = "okay";
						badge = "g300_2";
						position = "top";
						orientation = "1";

						drivernode0 {
							status = "okay";
							/* Declare PCL support driver (classically known as guid)  */
							pcl_id = "v4l2_sensor";
							proc-device-tree = "/proc/device-tree/cam_i2cmux/i2c@1/g2m0@66";
						};

						drivernode1 {
							status = "okay";
							/* Declare PCL support driver (classically known as guid)  */
							pcl_id = "v4l2_sensor";
							/* Declare the device-tree hierarchy to driver instance */
							proc-device-tree = "/proc/device-tree/cam_i2cmux/i2c@1/g2m1@67";
						};

						drivernode2 {
							status = "okay";
							/* Declare PCL support driver (classically known as guid)  */
							pcl_id = "v4l2_sensor";
							/* Declare the device-tree hierarchy to driver instance */
							proc-device-tree = "/proc/device-tree/cam_i2cmux/i2c@1/g2m2@68";
						};

						drivernode3 {
							status = "okay";
							/* Declare PCL support driver (classically known as guid)  */
							pcl_id = "v4l2_sensor";
							/* Declare the device-tree hierarchy to driver instance */
							proc-device-tree = "/proc/device-tree/cam_i2cmux/i2c@1/g2m3@69";
						};
					};

					module3 {
						status = "okay";
						badge = "g300_3";
						position = "bottom";
						orientation = "1";

						drivernode0 {
							status = "okay";
								/* Declare PCL support driver (classically known as guid)  */
							pcl_id = "v4l2_sensor";
							/* Declare the device-tree hierarchy to driver instance */
							proc-device-tree = "/proc/device-tree/cam_i2cmux/i2c@1/g2m0@6A";
						};

						drivernode1 {
							status = "okay";
							/* Declare PCL support driver (classically known as guid)  */
							pcl_id = "v4l2_sensor";
							/* Declare the device-tree hierarchy to driver instance */
							proc-device-tree = "/proc/device-tree/cam_i2cmux/i2c@1/g2m1@6B";
						};

						drivernode2 {
							status = "okay";
							/* Declare PCL support driver (classically known as guid)  */
							pcl_id = "v4l2_sensor";
							/* Declare the device-tree hierarchy to driver instance */
							proc-device-tree = "/proc/device-tree/cam_i2cmux/i2c@1/g2m2@6C";
						};

						drivernode3 {
							status = "okay";
							/* Declare PCL support driver (classically known as guid)  */
							pcl_id = "v4l2_sensor";
							/* Declare the device-tree hierarchy to driver instance */
							proc-device-tree = "/proc/device-tree/cam_i2cmux/i2c@1/g2m3@6D";
						};
					};
				};
			};
		};
	};
};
